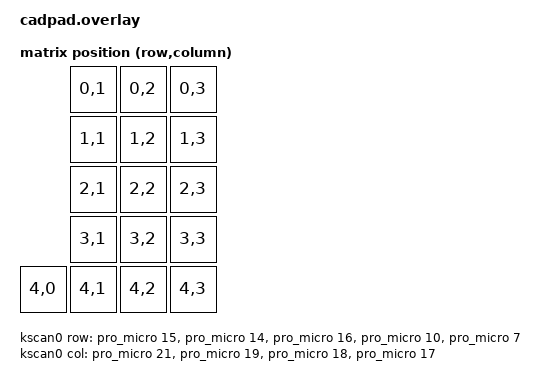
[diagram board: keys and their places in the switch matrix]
#include <dt-bindings/zmk/matrix_transform.h>

/ {
    chosen {
                zmk,kscan = &kscan0;
                zmk,matrix_transform = &default_transform;

    };

    kscan0: kscan_0 {
        compatible = "zmk,kscan-gpio-matrix";
        diode-direction = "col2row";
        wakeup-source;

        row-gpios = <&pro_micro 15 (GPIO_ACTIVE_HIGH | GPIO_PULL_DOWN)>,
                    <&pro_micro 14 (GPIO_ACTIVE_HIGH | GPIO_PULL_DOWN)>,
                    <&pro_micro 16 (GPIO_ACTIVE_HIGH | GPIO_PULL_DOWN)>,
                    <&pro_micro 10 (GPIO_ACTIVE_HIGH | GPIO_PULL_DOWN)>,
                    <&pro_micro 7  (GPIO_ACTIVE_HIGH | GPIO_PULL_DOWN)>;

        col-gpios = <&pro_micro 21 GPIO_ACTIVE_HIGH>,
                    <&pro_micro 19 GPIO_ACTIVE_HIGH>,
                    <&pro_micro 18 GPIO_ACTIVE_HIGH>,
                    <&pro_micro 17 GPIO_ACTIVE_HIGH>;

    };

    default_transform: matrix_transform {
            compatible = "zmk,matrix-transform";
            rows = <5>;
            columns = <4>;

            map = <
                            RC(0,1) RC(0,2) RC(0,3)
                            RC(1,1) RC(1,2) RC(1,3)
                            RC(2,1) RC(2,2) RC(2,3)
                            RC(3,1) RC(3,2) RC(3,3)
                    RC(4,0) RC(4,1) RC(4,2) RC(4,3)
            >;
    };   


};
